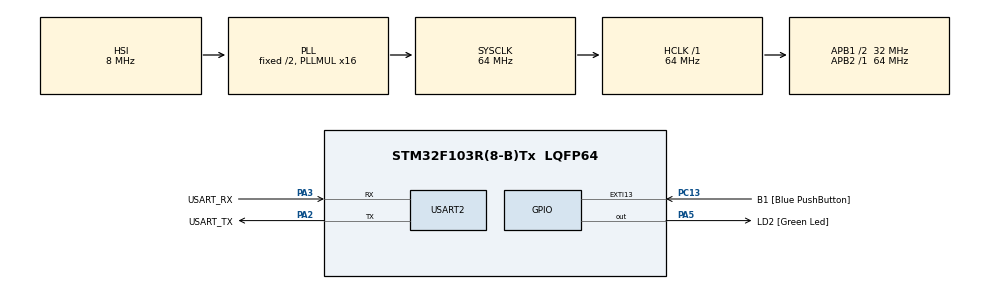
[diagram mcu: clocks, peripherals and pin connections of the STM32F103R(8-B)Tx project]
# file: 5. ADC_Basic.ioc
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ADC1.Channel-0\#ChannelRegularConversion=ADC_CHANNEL_TEMPSENSOR
ADC1.ContinuousConvMode=ENABLE
ADC1.NbrOfConversionFlag=1
ADC1.Rank-0\#ChannelRegularConversion=1
ADC1.SamplingTime-0\#ChannelRegularConversion=ADC_SAMPLETIME_13CYCLES_5
ADC1.master=1
Mcu.Family=STM32F1
Mcu.Name=STM32F103R(8-B)Tx
Mcu.Package=LQFP64
NVIC.EXTI15_10_IRQn=true\:0\:0\:false\:false\:true\:true\:true\:true
NVIC.PriorityGroup=NVIC_PRIORITYGROUP_4
PA13.GPIO_Label=TMS
PA13.Mode=Serial_Wire
PA13.Signal=SYS_JTMS-SWDIO
PA14.GPIO_Label=TCK
PA14.Mode=Serial_Wire
PA14.Signal=SYS_JTCK-SWCLK
PA2.GPIO_Label=USART_TX
PA2.GPIO_Mode=GPIO_MODE_AF_PP
PA2.GPIO_PuPd=GPIO_NOPULL
PA2.GPIO_Speed=GPIO_SPEED_FREQ_LOW
PA2.Mode=Asynchronous
PA2.Signal=USART2_TX
PA3.GPIO_Label=USART_RX
PA3.GPIO_Mode=GPIO_MODE_AF_PP
PA3.GPIO_PuPd=GPIO_NOPULL
PA3.GPIO_Speed=GPIO_SPEED_FREQ_LOW
PA3.Mode=Asynchronous
PA3.Signal=USART2_RX
PA5.GPIO_Label=LD2 [Green Led]
PA5.GPIO_ModeDefaultOutputPP=GPIO_MODE_OUTPUT_PP
PA5.GPIO_PuPd=GPIO_NOPULL
PA5.GPIO_Speed=GPIO_SPEED_FREQ_LOW
PA5.Signal=GPIO_Output
PB3.GPIO_Label=SWO
PB3.Signal=SYS_JTDO-TRACESWO
PC13-TAMPER-RTC.GPIO_Label=B1 [Blue PushButton]
PC13-TAMPER-RTC.GPIO_PuPd=GPIO_NOPULL
PC13-TAMPER-RTC.Signal=GPXTI13
PC14-OSC32_IN.Signal=RCC_OSC32_IN
PC15-OSC32_OUT.Signal=RCC_OSC32_OUT
PD0-OSC_IN.Signal=RCC_OSC_IN
PD1-OSC_OUT.Signal=RCC_OSC_OUT
ProjectManager.HeapSize=0x200
ProjectManager.StackSize=0x400
ProjectManager.TargetToolchain=STM32CubeIDE
RCC.ADCPresc=RCC_ADCPCLK2_DIV8
RCC.AHBFreq_Value=64000000
RCC.APB1CLKDivider=RCC_HCLK_DIV2
RCC.APB1Freq_Value=32000000
RCC.APB1TimFreq_Value=64000000
RCC.APB2Freq_Value=64000000
RCC.APB2TimFreq_Value=64000000
RCC.HCLKFreq_Value=64000000
RCC.PLLMUL=RCC_PLL_MUL16
RCC.RTCClockSelection=RCC_RTCCLKSOURCE_LSE
RCC.SYSCLKFreq_VALUE=64000000
RCC.SYSCLKSource=RCC_SYSCLKSOURCE_PLLCLK
RCC.USBFreq_Value=64000000
USART2.VirtualMode=VM_ASYNC
VP_ADC1_TempSens_Input.Mode=IN-TempSens
board=NUCLEO-F103RB

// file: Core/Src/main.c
/* USER CODE BEGIN Header */
/**
  ******************************************************************************
  * @file           : main.c
  * @brief          : Main program body
  ******************************************************************************
  * @attention
  *
  * Copyright (c) 2025 STMicroelectronics.
  * All rights reserved.
  *
  * This software is licensed under terms that can be found in the LICENSE file
  * in the root directory of this software component.
  * If no LICENSE file comes with this software, it is provided AS-IS.
  *
  ******************************************************************************
  */
/* USER CODE END Header */
#include "main.h"

/* USER CODE BEGIN Includes */
#include <stdio.h>
/* USER CODE END Includes */

ADC_HandleTypeDef hadc1;

UART_HandleTypeDef huart2;

/* USER CODE BEGIN PV */
const float V25		 = 1.43;
const float AvgSlope = 4.3E-3;
const float ADC_V	 = 3.3;
/* USER CODE END PV */

void SystemClock_Config(void);
static void MX_GPIO_Init(void);
static void MX_USART2_UART_Init(void);
static void MX_ADC1_Init(void);

/* USER CODE BEGIN 0 */
#ifdef __GNUC__
#define PUTCHAR_PROTOTYPE int __io_putchar(int ch)
#else
#define PUTCHAR_PROTOTYPE int fputc(int ch, FILE *f)
#endif

PUTCHAR_PROTOTYPE
{
	if (ch == '\n')
		HAL_UART_Transmit(&huart2, (uint8_t*) "\r", 1, 0xFFFF);
	HAL_UART_Transmit(&huart2, (uint8_t*) &ch, 1, 0xFFFF);

	return ch;
}
/* USER CODE END 0 */

int main(void)
{

  /* MCU Configuration--------------------------------------------------------*/

  /* Reset of all peripherals, Initializes the Flash interface and the Systick. */
  HAL_Init();

  /* Configure the system clock */
  SystemClock_Config();

  /* Initialize all configured peripherals */
  MX_GPIO_Init();
  MX_USART2_UART_Init();
  MX_ADC1_Init();

  /* Infinite loop */
  /* USER CODE BEGIN WHILE */

  //ADC Calibration
    if (HAL_ADCEx_Calibration_Start(&hadc1) != HAL_OK)
  	  Error_Handler();

    //ADC Start
    if (HAL_ADC_Start(&hadc1) != HAL_OK)
  	  Error_Handler();

    uint16_t adc1;

    float Vsense;
    float temp;

  while (1)
  {
    /* USER CODE END WHILE */

    /* USER CODE BEGIN 3 */
	  HAL_ADC_PollForConversion(&hadc1, 100);
	  adc1 = HAL_ADC_GetValue(&hadc1);
  //	  printf("ADC Read Temp: %d\n", adc1);

	  Vsense = adc1 * ADC_V / 4096;
	  temp = (V25 - Vsense) / AvgSlope + 25;
	  printf("Temp: %6.3f\n", temp);

	  HAL_Delay(100);
  }
  /* USER CODE END 3 */
}

void SystemClock_Config(void)
{
  RCC_OscInitTypeDef RCC_OscInitStruct = {0};
  RCC_ClkInitTypeDef RCC_ClkInitStruct = {0};
  RCC_PeriphCLKInitTypeDef PeriphClkInit = {0};

  /** Initializes the RCC Oscillators according to the specified parameters
  * in the RCC_OscInitTypeDef structure.
  */
  RCC_OscInitStruct.OscillatorType = RCC_OSCILLATORTYPE_HSI;
  RCC_OscInitStruct.HSIState = RCC_HSI_ON;
  RCC_OscInitStruct.HSICalibrationValue = RCC_HSICALIBRATION_DEFAULT;
  RCC_OscInitStruct.PLL.PLLState = RCC_PLL_ON;
  RCC_OscInitStruct.PLL.PLLSource = RCC_PLLSOURCE_HSI_DIV2;
  RCC_OscInitStruct.PLL.PLLMUL = RCC_PLL_MUL16;
  if (HAL_RCC_OscConfig(&RCC_OscInitStruct) != HAL_OK)
  {
    Error_Handler();
  }

  /** Initializes the CPU, AHB and APB buses clocks
  */
  RCC_ClkInitStruct.ClockType = RCC_CLOCKTYPE_HCLK|RCC_CLOCKTYPE_SYSCLK
                              |RCC_CLOCKTYPE_PCLK1|RCC_CLOCKTYPE_PCLK2;
  RCC_ClkInitStruct.SYSCLKSource = RCC_SYSCLKSOURCE_PLLCLK;
  RCC_ClkInitStruct.AHBCLKDivider = RCC_SYSCLK_DIV1;
  RCC_ClkInitStruct.APB1CLKDivider = RCC_HCLK_DIV2;
  RCC_ClkInitStruct.APB2CLKDivider = RCC_HCLK_DIV1;

  if (HAL_RCC_ClockConfig(&RCC_ClkInitStruct, FLASH_LATENCY_2) != HAL_OK)
  {
    Error_Handler();
  }
  PeriphClkInit.PeriphClockSelection = RCC_PERIPHCLK_ADC;
  PeriphClkInit.AdcClockSelection = RCC_ADCPCLK2_DIV8;
  if (HAL_RCCEx_PeriphCLKConfig(&PeriphClkInit) != HAL_OK)
  {
    Error_Handler();
  }
}

static void MX_ADC1_Init(void)
{

  ADC_ChannelConfTypeDef sConfig = {0};

  /** Common config
  */
  hadc1.Instance = ADC1;
  hadc1.Init.ScanConvMode = ADC_SCAN_DISABLE;
  hadc1.Init.ContinuousConvMode = ENABLE;
  hadc1.Init.DiscontinuousConvMode = DISABLE;
  hadc1.Init.ExternalTrigConv = ADC_SOFTWARE_START;
  hadc1.Init.DataAlign = ADC_DATAALIGN_RIGHT;
  hadc1.Init.NbrOfConversion = 1;
  if (HAL_ADC_Init(&hadc1) != HAL_OK)
  {
    Error_Handler();
  }

  /** Configure Regular Channel
  */
  sConfig.Channel = ADC_CHANNEL_TEMPSENSOR;
  sConfig.Rank = ADC_REGULAR_RANK_1;
  sConfig.SamplingTime = ADC_SAMPLETIME_13CYCLES_5;
  if (HAL_ADC_ConfigChannel(&hadc1, &sConfig) != HAL_OK)
  {
    Error_Handler();
  }

}

static void MX_USART2_UART_Init(void)
{

  huart2.Instance = USART2;
  huart2.Init.BaudRate = 115200;
  huart2.Init.WordLength = UART_WORDLENGTH_8B;
  huart2.Init.StopBits = UART_STOPBITS_1;
  huart2.Init.Parity = UART_PARITY_NONE;
  huart2.Init.Mode = UART_MODE_TX_RX;
  huart2.Init.HwFlowCtl = UART_HWCONTROL_NONE;
  huart2.Init.OverSampling = UART_OVERSAMPLING_16;
  if (HAL_UART_Init(&huart2) != HAL_OK)
  {
    Error_Handler();
  }

}

static void MX_GPIO_Init(void)
{
  GPIO_InitTypeDef GPIO_InitStruct = {0};

  /* GPIO Ports Clock Enable */
  __HAL_RCC_GPIOC_CLK_ENABLE();
  __HAL_RCC_GPIOD_CLK_ENABLE();
  __HAL_RCC_GPIOA_CLK_ENABLE();
  __HAL_RCC_GPIOB_CLK_ENABLE();

  /*Configure GPIO pin Output Level */
  HAL_GPIO_WritePin(LD2_GPIO_Port, LD2_Pin, GPIO_PIN_RESET);

  /*Configure GPIO pin : B1_Pin */
  GPIO_InitStruct.Pin = B1_Pin;
  GPIO_InitStruct.Mode = GPIO_MODE_IT_RISING;
  GPIO_InitStruct.Pull = GPIO_NOPULL;
  HAL_GPIO_Init(B1_GPIO_Port, &GPIO_InitStruct);

  /*Configure GPIO pin : LD2_Pin */
  GPIO_InitStruct.Pin = LD2_Pin;
  GPIO_InitStruct.Mode = GPIO_MODE_OUTPUT_PP;
  GPIO_InitStruct.Pull = GPIO_NOPULL;
  GPIO_InitStruct.Speed = GPIO_SPEED_FREQ_LOW;
  HAL_GPIO_Init(LD2_GPIO_Port, &GPIO_InitStruct);

  /* EXTI interrupt init*/
  HAL_NVIC_SetPriority(EXTI15_10_IRQn, 0, 0);
  HAL_NVIC_EnableIRQ(EXTI15_10_IRQn);

}

void Error_Handler(void)
{
  __disable_irq();
  while (1)
  {
  }
}
